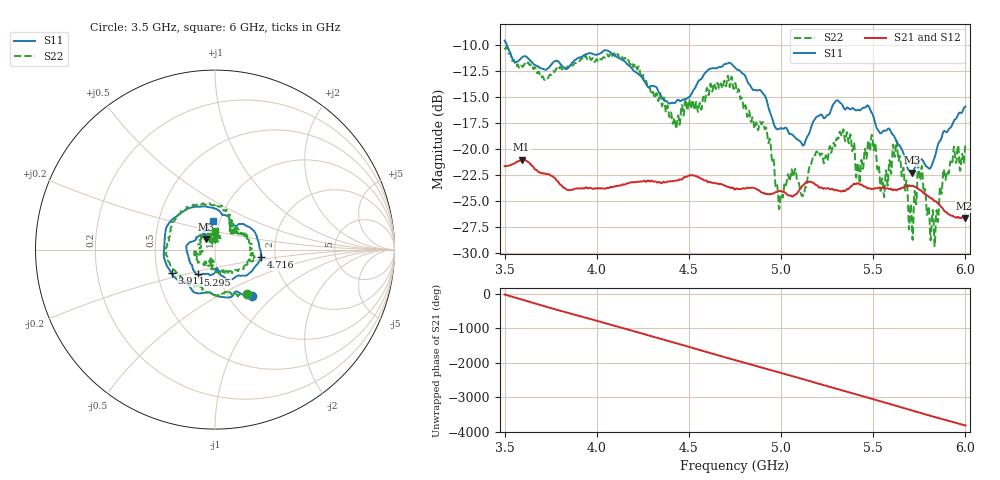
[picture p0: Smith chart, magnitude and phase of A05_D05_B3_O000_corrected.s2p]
! Created with skrf 1.9.0 (http://scikit-rf.org).
# Hz S RI R 50.0
!freq ReS11 ImS11 ReS21 ImS21 ReS12 ImS12 ReS22 ImS22
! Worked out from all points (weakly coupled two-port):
!   1601 points, 3.5 GHz to 6 GHz, reference 50 ohm
!   highest |S21| = -21.06 dB at 3.592 GHz (marker M1); lowest = -26.7 dB at 5.995 GHz (marker M2)
!   lowest |S11| = -22.3 dB at 5.711 GHz (marker M3), VSWR 1.17, Z = 45 + j5.33 ohm
!   |S11| at or under -10 dB: 3.512 GHz to end of sweep
!   |S22| runs from -29.4 to -10.2 dB; largest |S21 - S12| = 0.00096
!   S11 on the Smith chart (normalised r, x): 3.5 GHz: 1.27, -0.74; 3.911 GHz: 0.59, -0.17; 4.716 GHz: 1.67, -0.15; 5.295 GHz: 0.80, -0.23; 6 GHz: 0.93, +0.30
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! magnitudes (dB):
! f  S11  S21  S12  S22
! 3.5 GHz  -9.6  -21.7  -21.7  -10.3
! 3.592 GHz  -11.2  -21.1  -21.1  -12.0
! 3.911 GHz  -11.2  -23.8  -23.8  -11.5
! 3.917 GHz  -11.2  -23.8  -23.8  -11.3
! 4.144 GHz  -11.5  -23.4  -23.4  -11.4
! 4.334 GHz  -14.5  -23.2  -23.2  -15.4
! 4.423 GHz  -15.6  -23.1  -23.1  -17.1
! 4.716 GHz  -11.8  -23.7  -23.7  -13.4
! 4.75 GHz  -12.2  -23.9  -23.9  -13.7
! 4.912 GHz  -14.9  -24.3  -24.3  -18.1
! 4.997 GHz  -18.0  -24.1  -24.0  -24.5
! 5.119 GHz  -19.7  -23.5  -23.5  -24.5
! 5.167 GHz  -17.7  -23.2  -23.2  -21.2
! 5.295 GHz  -15.5  -23.9  -23.9  -19.6
! 5.584 GHz  -18.1  -23.9  -23.8  -21.7
! 5.634 GHz  -19.5  -23.9  -23.9  -20.8
! 5.711 GHz  -22.3  -23.6  -23.5  -28.0
! 5.753 GHz  -21.1  -24.0  -23.9  -23.0
! 5.841 GHz  -20.4  -25.1  -25.0  -26.3
! 5.889 GHz  -18.3  -26.0  -26.0  -22.8
! 5.995 GHz  -16.0  -26.7  -26.6  -20.5
! 6 GHz  -16.0  -26.7  -26.6  -19.6
